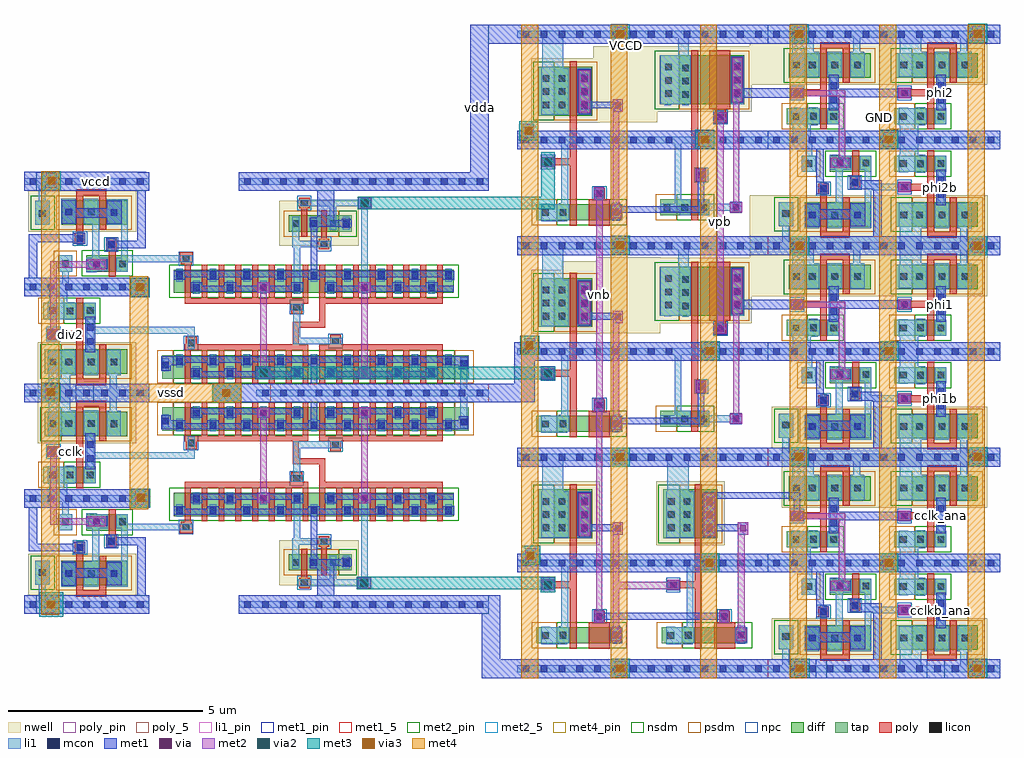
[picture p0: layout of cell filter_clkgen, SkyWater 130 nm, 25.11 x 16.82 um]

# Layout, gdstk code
import gdstk
lib = gdstk.Library(unit=1e-6, precision=1e-09)
def R(c, l, rs):  # rectangles x0, y0, x1, y1
    for r in rs: c.add(gdstk.rectangle(r[:2], r[2:], *l))
def A(c, l, x, y, w, h, nx, ny, dx, dy):  # array of equal rectangles
    R(c, l, [(x+i*dx, y+j*dy, x+i*dx+w, y+j*dy+h) for i in range(nx) for j in range(ny)])
nwell = (64, 20)
diff = (65, 20)
tap = (65, 44)
poly_5 = (66, 5)
poly_pin = (66, 16)
poly = (66, 20)
licon = (66, 44)
li1_pin = (67, 16)
li1 = (67, 20)
mcon = (67, 44)
met1_5 = (68, 5)
met1_pin = (68, 16)
met1 = (68, 20)
via = (68, 44)
met2_5 = (69, 5)
met2_pin = (69, 16)
met2 = (69, 20)
via2 = (69, 44)
met3 = (70, 20)
via3 = (70, 44)
met4_pin = (71, 16)
met4 = (71, 20)
nsdm = (93, 44)
psdm = (94, 20)
npc = (95, 20)

c_tg = lib.new_cell('tg')
R(c_tg, nwell, [(-1.265,1.02,1.51,2.085)])
R(c_tg, diff, [(0.225,0,1.29,0.42), (-0.42,1.2,1.27,1.83)])
R(c_tg, tap, [(-0.495,0,-0.145,0.415), (-1.085,1.2,-0.715,1.82)])
R(c_tg, poly, [(0.8,-0.13,0.98,0.53), (0.775,0.53,0.98,0.55), (0.73,0.55,1,0.83), (-0.025,0.69,0.145,0.72), (-0.075,0.72,0.195,1), (0.78,0.83,0.95,0.86), (-0.03,1,0.15,1.96), (0.55,1.07,0.73,1.96), (-0.03,1.96,0.73,2.12)])
R(c_tg, licon, [(0.4,0.1,0.57,0.27), (1.07,0.11,1.24,0.28), (-0.395,0.12,-0.225,0.29), (0.78,0.61,0.95,0.78), (-0.025,0.77,0.145,0.94), (-0.995,1.41,-0.825,1.58), (0.85,1.44,1.02,1.61), (-0.315,1.445,-0.145,1.615), (0.265,1.445,0.435,1.615)])
R(c_tg, li1_pin, [(1.07,0.11,1.24,0.28)])
R(c_tg, li1, [(-1.38,-0.485,1.84,-0.315), (-0.395,-0.315,-0.225,0), (0.225,-0.02,0.495,0.005), (-0.495,0,-0.145,0.415), (0.99,0,1.29,0.36), (0.225,0.005,0.775,0.36), (0.38,0.36,0.55,1.215), (1.12,0.36,1.29,1.21), (0.78,0.53,0.95,0.86), (-0.025,0.69,0.145,1.02), (-1.09,1.2,-0.715,1.82), (0.79,1.21,1.29,1.22), (-0.375,1.215,-0.085,1.225), (0.205,1.215,0.55,1.225), (0.745,1.22,1.29,1.865), (-0.42,1.225,-0.05,1.87), (0.16,1.225,0.55,1.385), (0.16,1.385,0.53,1.83), (-0.995,1.82,-0.825,2.235), (0.16,1.83,0.525,1.87), (-1.38,2.235,1.84,2.405)])
A(c_tg, mcon, -1.235, -0.485, 0.17, 0.17, 7, 2, 0.46, 2.72)
R(c_tg, mcon, [(0.4,0.1,0.57,0.27), (0.78,0.61,0.95,0.78), (-0.025,0.77,0.145,0.94), (0.85,1.44,1.02,1.61), (-0.315,1.445,-0.145,1.615)])
R(c_tg, met1_pin, [(-0.145,-0.64,0.145,-0.16), (0.78,0.61,0.95,0.78), (-0.025,0.77,0.145,0.94), (-0.145,2.08,0.145,2.56)])
R(c_tg, met1, [(-1.38,-0.64,1.84,-0.16), (0.215,0.055,0.755,0.315), (0.73,0.525,1,0.865), (-0.095,0.71,0.195,1), (0.75,1.23,1.13,1.385), (-0.41,1.235,-0.03,1.385), (-0.41,1.385,1.13,1.635), (-0.41,1.635,-0.03,1.835), (0.75,1.635,1.13,1.825), (-1.38,2.08,0.745,2.085), (1.02,2.08,1.84,2.085), (-1.38,2.085,1.84,2.56)])
R(c_tg, via, [(0.41,0.11,0.56,0.26)])
R(c_tg, met2_pin, [(0.275,0.1,0.695,0.27)])
R(c_tg, met2, [(0.245,0.055,0.725,0.315)])
R(c_tg, nsdm, [(0.1,-0.125,1.415,0.545), (-1.21,1.075,-0.59,1.945)])
R(c_tg, psdm, [(-0.62,-0.125,-0.02,0.54), (-0.545,1.075,1.395,1.955)])
R(c_tg, npc, [(0.68,0.51,1.05,0.88), (-0.125,0.67,0.245,1.04)])
c_tg.add(gdstk.Label('ctrl_', (0.06,0.855), layer=68, texttype=16))
c_tg.add(gdstk.Label('ctrl', (0.865,0.695), layer=68, texttype=16))
c_tg.add(gdstk.Label('in', (0.485,0.185), layer=69, texttype=16))
c_tg.add(gdstk.Label('out', (1.155,0.195), layer=67, texttype=16))
c_tg.add(gdstk.Label('vdd', (0,2.32), layer=68, texttype=16))
c_tg.add(gdstk.Label('vss', (0,-0.4), layer=68, texttype=16))

inverter = lib.new_cell('inverter')
R(inverter, nwell, [(-1.02,1.02,1.51,2.085)])
R(inverter, diff, [(-0.355,0,0.46,0.42), (-0.42,1.2,1.27,1.83)])
R(inverter, tap, [(-0.885,0,-0.355,0.42), (-0.84,1.2,-0.42,1.83)])
R(inverter, poly, [(-0.03,-0.13,0.15,0.72), (-0.755,0.675,-0.475,0.72), (-0.755,0.72,0.15,0.725), (-0.785,0.725,0.15,0.895), (-0.755,0.895,0.15,0.9), (-0.755,0.9,-0.475,0.945), (-0.03,0.9,0.15,1.96), (0.55,1.07,0.73,1.96), (-0.03,1.96,0.73,2.12)])
R(inverter, licon, [(-0.735,0.12,-0.565,0.29), (0.24,0.12,0.41,0.29), (-0.285,0.125,-0.115,0.295), (-0.705,0.725,-0.535,0.895), (-0.72,1.44,-0.55,1.61), (0.85,1.44,1.02,1.61), (-0.315,1.445,-0.145,1.615), (0.265,1.445,0.435,1.615)])
R(inverter, li1, [(-1.38,-0.485,1.84,-0.315), (-0.735,-0.315,-0.265,-0.02), (-0.765,-0.02,-0.265,-0.015), (-0.765,-0.015,-0.085,0.005), (0.16,0,0.46,0.42), (-0.765,0.005,-0.04,0.415), (-0.765,0.415,-0.085,0.42), (-0.765,0.42,-0.535,0.435), (-0.315,0.42,-0.085,0.445), (0.24,0.42,0.41,1.215), (-0.785,0.725,-0.455,0.895), (0.79,1.21,1.08,1.22), (-0.375,1.215,-0.085,1.225), (0.205,1.215,0.495,1.225), (0.745,1.22,1.115,1.825), (-0.76,1.225,-0.05,1.83), (0.16,1.225,0.53,1.83), (0.745,1.825,1.11,1.865), (-0.74,1.83,-0.05,1.87), (0.16,1.83,0.525,1.87), (0.82,1.865,1,2.235), (-0.74,1.87,-0.19,2.235), (-1.38,2.235,1.84,2.405)])
A(inverter, mcon, -1.235, -0.485, 0.17, 0.17, 7, 2, 0.46, 2.72)
R(inverter, mcon, [(0.24,0.55,0.41,0.72), (-0.705,0.725,-0.535,0.895), (0.24,0.91,0.41,1.08)])
R(inverter, met1_pin, [(-0.145,-0.64,0.145,-0.16), (0.24,0.42,0.41,1.215), (-0.05,2.08,0.42,2.56)])
R(inverter, met1, [(-1.38,-0.64,1.84,-0.16), (0.195,0.36,0.45,1.28), (-0.77,0.675,-0.455,0.68), (-0.78,0.68,-0.455,0.94), (-0.77,0.94,-0.455,0.945), (-1.38,2.08,1.84,2.56)])
R(inverter, via, [(-0.695,0.735,-0.545,0.885)])
R(inverter, met2_pin, [(-0.705,0.725,-0.535,0.895)])
R(inverter, met2, [(-0.78,0.68,-0.46,0.94)])
R(inverter, nsdm, [(-0.355,-0.125,0.585,0.545), (-0.965,1.075,-0.42,1.955)])
R(inverter, psdm, [(-1.01,-0.125,-0.355,0.545), (-0.42,1.075,1.395,1.955)])
R(inverter, npc, [(-0.805,0.625,-0.435,0.995)])
inverter.add(gdstk.Label('in', (-0.62,0.81), layer=69, texttype=16))
inverter.add(gdstk.Label('out', (0.325,0.817), layer=68, texttype=16))
inverter.add(gdstk.Label('vss', (0,-0.4), layer=68, texttype=16))
inverter.add(gdstk.Label('vdd', (0.185,2.32), layer=68, texttype=16))

comp_clks_stg1 = lib.new_cell('comp_clks_stg1')
R(comp_clks_stg1, li1_pin, [(2.5,-2.025,2.67,-0.44)])
R(comp_clks_stg1, li1, [(2.5,-2.025,2.67,-0.44)])
R(comp_clks_stg1, met1_5, [(0.775,2.72,3.22,3.2)])
R(comp_clks_stg1, met1_pin, [(0.315,-2.72,3.22,-2.24), (0,0,3.22,0.48), (1.575,1,1.83,1.92)])
R(comp_clks_stg1, met1, [(2.915,-2.725,3.135,-2.72), (0.315,-2.72,3.22,-2.24), (2.915,-2.24,3.135,-0.955), (0.125,-1.115,1.395,-0.915), (2.175,-0.955,3.135,-0.755), (0.125,-0.915,0.345,0), (0,0,3.22,0.48), (1.575,1,1.83,1.92), (0.775,2.72,3.22,3.2)])
R(comp_clks_stg1, met2_pin, [(0.675,-0.43,0.845,1.37)])
R(comp_clks_stg1, met2, [(0.675,-0.43,1.685,-0.26), (0.675,-0.26,0.845,1.37)])
comp_clks_stg1.add(gdstk.Reference(c_tg, (1.38,-0.16), x_reflection=True))
comp_clks_stg1.add(gdstk.Reference(inverter, (1.38,0.64)))
comp_clks_stg1.add(gdstk.Label('vdd', (1.997,2.96), layer=68, texttype=5))
comp_clks_stg1.add(gdstk.Label('vdd', (1.767,-2.48), layer=68, texttype=16))
comp_clks_stg1.add(gdstk.Label('vss', (1.61,0.24), layer=68, texttype=16))
comp_clks_stg1.add(gdstk.Label('clk', (0.76,0.47), layer=69, texttype=16))
comp_clks_stg1.add(gdstk.Label('clka', (1.702,1.46), layer=68, texttype=16))
comp_clks_stg1.add(gdstk.Label('clkb', (2.585,-1.232), layer=67, texttype=16))

level_up_shifter_d_a = lib.new_cell('level_up_shifter_d_a')
R(level_up_shifter_d_a, nwell, [(8.575,6.515,10.625,7.675)])
R(level_up_shifter_d_a, diff, [(5.85,3.1,13.09,3.7), (5.865,5.3,13.07,5.9), (8.815,6.875,10.1,7.295)])
R(level_up_shifter_d_a, tap, [(5.56,3.1,5.85,3.7), (13.09,3.1,13.455,3.7), (10.1,6.875,10.445,7.295)])
R(level_up_shifter_d_a, poly, [(6.15,2.97,6.3,3.83), (6.58,2.97,6.73,3.83), (7.015,2.97,7.165,3.83), (7.445,2.97,7.595,3.83), (7.88,2.97,8.03,3.83), (8.31,2.97,8.46,3.83), (8.745,2.97,8.895,3.83), (9.175,2.97,9.325,3.83), (9.61,2.97,9.76,3.83), (10.04,2.97,10.19,3.83), (10.475,2.97,10.625,3.83), (10.905,2.97,11.055,3.83), (11.34,2.97,11.49,3.83), (11.77,2.97,11.92,3.83), (12.205,2.97,12.355,3.83), (12.635,2.97,12.785,3.83), (6.15,3.83,9.325,3.98), (9.61,3.83,12.785,3.98), (6.175,3.98,6.45,4.18), (8.925,3.98,9.075,4.41), (9.885,3.98,10.16,4.23), (8.925,4.41,9.76,4.56), (9.61,4.56,9.76,5.02), (8.89,4.77,9.165,5.02), (6.15,5.02,9.325,5.17), (9.61,5.02,12.785,5.17), (6.15,5.17,6.3,6.045), (6.58,5.17,6.73,6.03), (7.015,5.17,7.165,6.03), (7.445,5.17,7.595,6.03), (7.88,5.17,8.03,6.03), (8.31,5.17,8.46,6.03), (8.745,5.17,8.895,6.03), (9.175,5.17,9.325,6.03), (9.61,5.17,9.76,6.03), (10.04,5.17,10.19,6.03), (10.475,5.17,10.625,6.03), (10.905,5.17,11.055,6.03), (11.34,5.17,11.49,6.03), (11.77,5.17,11.92,6.03), (12.205,5.17,12.355,6.03), (12.635,5.17,12.785,6.03), (6.045,6.045,6.32,6.095), (6.015,6.095,6.345,6.345), (9.59,6.42,9.86,6.47), (9.56,6.47,9.89,6.64), (9.59,6.64,9.86,6.69), (9.65,6.69,9.8,7.425), (9.145,6.745,9.295,7.48), (9.085,7.48,9.355,7.53), (9.055,7.53,9.385,7.7), (9.085,7.7,9.355,7.75)])
A(level_up_shifter_d_a, licon, 8.95, 3.16, 0.17, 0.17, 5, 1, 0.865, 0)
A(level_up_shifter_d_a, licon, 5.925, 3.47, 0.17, 0.17, 9, 2, 0.865, 2.2)
A(level_up_shifter_d_a, licon, 6.355, 5.36, 0.17, 0.17, 8, 1, 0.865, 0)
R(level_up_shifter_d_a, licon, [(6.355,3.16,6.525,3.33), (7.22,3.16,7.39,3.33), (8.085,3.165,8.255,3.335), (5.565,3.365,5.735,3.535), (13.235,3.395,13.405,3.565), (6.225,3.93,6.395,4.1), (9.935,3.98,10.105,4.15), (8.94,4.85,9.11,5.02), (6.095,6.095,6.265,6.265), (9.64,6.47,9.81,6.64), (8.915,7.005,9.085,7.175), (9.385,7.005,9.555,7.175), (9.875,7.005,10.045,7.175), (10.215,7.005,10.385,7.175), (9.135,7.53,9.305,7.7)])
A(level_up_shifter_d_a, li1, 8.95, 3.08, 0.17, 0.33, 5, 1, 0.865, 0)
A(level_up_shifter_d_a, li1, 5.925, 3.39, 0.17, 0.33, 9, 2, 0.865, 2.2)
A(level_up_shifter_d_a, li1, 6.355, 5.28, 0.17, 0.33, 3, 1, 0.865, 0)
R(level_up_shifter_d_a, li1, [(7.98,2.645,13.97,2.815), (13.235,2.815,13.405,3.645), (6.355,3.08,6.525,3.41), (7.22,3.08,7.39,3.41), (8.085,3.08,8.255,3.415), (5.565,3.285,5.735,3.615), (6.225,3.85,6.4,4.255), (8.94,3.98,10.19,4.15), (8.94,4.15,9.115,4.85), (3.795,4.255,6.4,4.43), (8.86,4.85,9.195,5.02), (8.95,5.28,9.12,6.47), (9.815,5.28,9.985,5.61), (10.68,5.28,10.85,7.53), (11.545,5.28,11.715,5.61), (12.41,5.28,12.58,5.61), (4.67,6.095,6.35,6.265), (8.915,6.47,9.89,6.64), (8.915,6.64,9.085,7.255), (9.385,6.925,9.555,7.255), (9.875,6.925,10.045,7.53), (10.215,6.925,10.385,7.255), (9.055,7.53,10.85,7.7), (7.53,8.085,13.97,8.255)])
A(level_up_shifter_d_a, mcon, 8.595, 2.645, 0.17, 0.17, 12, 1, 0.46, 0)
A(level_up_shifter_d_a, mcon, 8.95, 3.16, 0.17, 0.17, 5, 1, 0.865, 0)
A(level_up_shifter_d_a, mcon, 5.925, 3.47, 0.17, 0.17, 9, 2, 0.865, 2.2)
A(level_up_shifter_d_a, mcon, 6.355, 5.36, 0.17, 0.17, 8, 1, 0.865, 0)
A(level_up_shifter_d_a, mcon, 7.675, 8.085, 0.17, 0.17, 14, 1, 0.46, 0)
R(level_up_shifter_d_a, mcon, [(8.14,2.645,8.31,2.815), (6.355,3.16,6.525,3.33), (7.22,3.16,7.39,3.33), (8.085,3.165,8.255,3.335), (5.565,3.365,5.735,3.535), (13.235,3.395,13.405,3.565), (9.385,7.005,9.555,7.175), (10.215,7.005,10.385,7.175)])
R(level_up_shifter_d_a, met1_5, [(2.785,2.49,5.23,2.97), (8.35,2.49,13.97,2.97)])
R(level_up_shifter_d_a, met1_pin, [(2.01,5.21,5.23,5.69), (2.325,7.93,5.23,8.41), (7.53,7.93,13.97,8.41)])
A(level_up_shifter_d_a, met1, 6.73, 3.44, 0.29, 0.07, 5, 1, 0.865, 0)
A(level_up_shifter_d_a, met1, 5.865, 5.64, 0.29, 0.07, 9, 1, 0.865, 0)
R(level_up_shifter_d_a, met1, [(2.785,2.49,5.23,2.97), (7.855,2.49,13.97,2.97), (9.385,2.97,9.555,3.44), (8.015,3.11,8.335,3.13), (10.615,3.11,10.935,3.13), (6.295,3.13,9.195,3.285), (9.75,3.13,12.655,3.285), (6.295,3.285,6.6,3.37), (7.16,3.285,7.465,3.37), (8.015,3.285,8.335,3.375), (8.89,3.285,9.195,3.37), (9.755,3.285,10.06,3.37), (10.615,3.285,10.935,3.37), (11.485,3.285,11.79,3.37), (12.35,3.285,12.655,3.37), (5.535,3.305,5.785,3.44), (13.195,3.335,13.435,3.44), (5.535,3.44,6.155,3.51), (11.075,3.44,11.345,3.47), (11.92,3.44,12.21,3.51), (12.785,3.44,13.435,3.51), (11.055,3.47,11.345,3.51), (5.535,3.51,7.885,3.515), (8.46,3.51,10.48,3.515), (11.055,3.51,13.435,3.52), (5.535,3.515,10.48,3.52), (5.535,3.52,13.435,3.67), (2.01,5.21,5.23,5.69), (8.015,5.305,8.335,5.33), (10.605,5.31,10.925,5.33), (6.295,5.33,9.195,5.485), (9.75,5.33,13.07,5.485), (6.295,5.485,6.6,5.57), (7.16,5.485,7.465,5.57), (8.015,5.485,8.335,5.57), (8.89,5.485,9.195,5.57), (9.755,5.485,10.06,5.57), (10.605,5.485,10.925,5.57), (11.485,5.485,11.79,5.57), (12.35,5.485,12.655,5.57), (5.865,5.71,13.075,5.87), (9.385,5.87,9.555,6.975), (9.355,6.975,9.585,7.005), (10.185,6.975,10.415,7.005), (9.355,7.005,10.445,7.175), (9.355,7.175,9.99,7.235), (10.185,7.175,10.415,7.205), (9.55,7.235,9.99,7.93), (2.325,7.93,5.23,8.41), (7.53,7.93,13.97,8.41)])
R(level_up_shifter_d_a, via, [(10.7,3.165,10.85,3.315), (8.1,3.17,8.25,3.32), (8.1,5.365,8.25,5.515), (10.69,5.365,10.84,5.515)])
R(level_up_shifter_d_a, met2_pin, [(10.68,3.37,10.85,5.31), (8.085,3.375,8.255,5.31), (2.685,4.32,2.855,6.12)])
R(level_up_shifter_d_a, met2, [(10.615,3.1,10.935,3.37), (8.015,3.11,8.335,3.375), (10.68,3.37,10.85,5.31), (8.085,3.375,8.255,5.31), (2.685,4.32,2.855,6.12), (8.015,5.31,8.335,5.57), (10.605,5.31,10.925,5.57)])
R(level_up_shifter_d_a, nsdm, [(5.85,2.975,13.09,3.825), (5.74,5.175,13.195,6.025), (10.1,6.75,10.57,7.42)])
R(level_up_shifter_d_a, psdm, [(5.435,2.975,5.85,3.825), (13.09,2.975,13.58,3.825), (8.69,6.75,10.1,7.42)])
R(level_up_shifter_d_a, npc, [(6.125,3.83,6.495,4.2), (9.835,3.88,10.205,4.25), (8.84,4.75,9.21,5.12), (5.995,5.995,6.365,6.365), (9.54,6.37,9.91,6.74), (9.035,7.43,9.405,7.8)])
level_up_shifter_d_a.add(gdstk.Reference(comp_clks_stg1, (2.01,5.69), x_reflection=True))
level_up_shifter_d_a.add(gdstk.Label('vccd', (4.007,2.73), layer=68, texttype=5))
level_up_shifter_d_a.add(gdstk.Label('vssd', (11.16,2.73), layer=68, texttype=5))
level_up_shifter_d_a.add(gdstk.Label('vccd', (3.777,8.17), layer=68, texttype=16))
level_up_shifter_d_a.add(gdstk.Label('vssd', (3.62,5.45), layer=68, texttype=16))
level_up_shifter_d_a.add(gdstk.Label('clk', (2.77,5.22), layer=69, texttype=16))
level_up_shifter_d_a.add(gdstk.Label('vdda', (10.75,8.17), layer=68, texttype=16))
level_up_shifter_d_a.add(gdstk.Label('outb', (8.17,4.342), layer=69, texttype=16))
level_up_shifter_d_a.add(gdstk.Label('out', (10.765,4.34), layer=69, texttype=16))

inv_weak_pulldown_correc = lib.new_cell('inv_weak_pulldown_corrected')
R(inv_weak_pulldown_correc, nwell, [(-1.02,2.77,0.74,4.42)])
R(inv_weak_pulldown_correc, diff, [(-0.355,0.25,1.32,0.67), (-0.42,2.95,0.55,4.21)])
R(inv_weak_pulldown_correc, tap, [(-0.885,0.25,-0.355,0.67), (-0.84,2.95,-0.42,4.21)])
R(inv_weak_pulldown_correc, poly, [(-0.03,0.12,0.15,1.665), (0.465,0.12,1.005,0.8), (0.6,0.8,0.87,1.08), (0.65,1.08,0.82,1.11), (-0.72,1.62,-0.44,1.665), (-0.72,1.665,0.15,1.67), (-0.75,1.67,0.15,1.84), (-0.72,1.84,0.15,1.845), (-0.72,1.845,-0.44,1.89), (-0.03,1.845,0.15,4.34)])
A(inv_weak_pulldown_correc, licon, 0.265, 3.135, 0.17, 0.17, 1, 3, 0, 0.34)
A(inv_weak_pulldown_correc, licon, -0.72, 3.14, 0.17, 0.17, 1, 3, 0, 0.34)
A(inv_weak_pulldown_correc, licon, -0.315, 3.14, 0.17, 0.17, 1, 3, 0, 0.34)
R(inv_weak_pulldown_correc, licon, [(-0.735,0.37,-0.565,0.54), (-0.285,0.375,-0.115,0.545), (1.08,0.38,1.25,0.55), (0.65,0.86,0.82,1.03), (-0.67,1.67,-0.5,1.84)])
A(inv_weak_pulldown_correc, li1, -1.38, -0.485, 3.22, 0.17, 1, 3, 0, 2.72)
R(inv_weak_pulldown_correc, li1, [(-0.765,0.23,-0.235,0.235), (-0.765,0.235,-0.085,0.255), (1.06,0.24,1.27,0.255), (-0.765,0.255,-0.04,0.665), (1.01,0.255,1.315,0.665), (-0.765,0.665,-0.065,0.67), (1.06,0.665,1.27,0.7), (-0.765,0.67,-0.535,0.685), (-0.315,0.67,-0.065,0.695), (-0.24,0.695,-0.065,2.235), (0.65,0.78,0.82,0.83), (0.62,0.83,0.85,1.06), (0.65,1.06,0.82,1.11), (-0.75,1.67,-0.42,1.84), (-0.375,2.965,-0.085,2.975), (0.205,2.965,0.495,2.975), (-0.76,2.975,-0.05,4.165), (0.16,2.975,0.53,4.165), (-0.74,4.165,-0.19,4.955)])
A(inv_weak_pulldown_correc, mcon, -1.235, -0.485, 0.17, 0.17, 7, 3, 0.46, 2.72)
A(inv_weak_pulldown_correc, mcon, 0.265, 3.115, 0.17, 0.17, 1, 3, 0, 0.36)
R(inv_weak_pulldown_correc, mcon, [(1.08,0.38,1.25,0.55), (0.65,0.86,0.82,1.03), (-0.67,1.67,-0.5,1.84)])
A(inv_weak_pulldown_correc, met1, -1.38, -0.64, 3.22, 0.48, 1, 3, 0, 2.72)
R(inv_weak_pulldown_correc, met1, [(1.06,0.26,1.27,0.29), (1.03,0.29,1.3,0.64), (1.06,0.64,1.27,0.67), (0.595,0.78,0.855,1.11), (-0.735,1.62,-0.42,1.625), (-0.745,1.625,-0.42,1.885), (-0.735,1.885,-0.42,1.89), (0.205,2.985,0.495,3.015), (0.175,3.015,0.525,3.14), (1.08,3.05,1.34,3.14), (0.175,3.14,1.34,3.31), (0.175,3.31,0.525,4.14), (1.08,3.31,1.34,3.37)])
A(inv_weak_pulldown_correc, via, 0.275, 3.165, 0.15, 0.15, 1, 3, 0, 0.32)
R(inv_weak_pulldown_correc, via, [(1.09,0.39,1.24,0.54), (0.65,0.87,0.8,1.02), (-0.66,1.68,-0.51,1.83), (1.135,3.135,1.285,3.285)])
R(inv_weak_pulldown_correc, met2_5, [(0.65,0.86,0.82,1.03), (-0.67,1.67,-0.5,1.84)])
R(inv_weak_pulldown_correc, met2, [(1.035,0.305,1.295,0.625), (1.08,0.625,1.25,3.05), (0.595,0.78,0.855,1.11), (-0.745,1.625,-0.425,1.885), (0.205,3.015,0.495,4.11), (1.08,3.05,1.34,3.37)])
R(inv_weak_pulldown_correc, nsdm, [(-0.355,0.125,1.445,0.795), (-0.965,2.825,-0.42,4.335)])
R(inv_weak_pulldown_correc, psdm, [(-1.01,0.125,-0.355,0.795), (-0.42,2.825,0.675,4.335)])
R(inv_weak_pulldown_correc, npc, [(0.55,0.76,0.92,1.13), (-0.77,1.57,-0.4,1.94)])
inv_weak_pulldown_correc.add(gdstk.Label('in', (-0.585,1.755), layer=69, texttype=5))
inv_weak_pulldown_correc.add(gdstk.Label('vnb', (0.735,0.945), layer=69, texttype=5))

comp_clks = lib.new_cell('comp_clks')
R(comp_clks, nwell, [(2.88,-2.245,3.15,-1.18), (2.885,1.66,3.135,2.725)])
R(comp_clks, li1, [(2.65,-1.055,3.37,-0.885)])
R(comp_clks, met1_5, [(0,-2.72,5.98,-2.24)])
R(comp_clks, met1_pin, [(4.335,-1.44,4.59,-0.52), (0,0,5.98,0.48), (4.335,1,4.59,1.92), (0,2.72,5.98,3.2)])
A(comp_clks, met1, 0, -2.72, 5.98, 0.48, 1, 3, 0, 2.72)
R(comp_clks, met1, [(2.715,-2.24,2.94,-1.025), (4.335,-1.44,4.59,-0.52), (1.255,-1.16,1.45,0), (2.11,-1.025,2.94,-0.8), (4.335,1,4.59,1.92), (1.755,1.34,3.385,1.555)])
R(comp_clks, met2_pin, [(0.91,1.365,2,1.525)])
R(comp_clks, met2, [(1.835,-0.235,2,1.365), (0.91,1.365,2,1.525)])
comp_clks.add(gdstk.Reference(c_tg, (1.38,-0.16), x_reflection=True))
comp_clks.add(gdstk.Reference(inverter, (4.14,-0.16), x_reflection=True))
comp_clks.add(gdstk.Reference(inverter, (4.14,0.64)))
comp_clks.add(gdstk.Reference(inverter, (1.38,0.64)))
comp_clks.add(gdstk.Label('vdd', (2.99,-2.48), layer=68, texttype=5))
comp_clks.add(gdstk.Label('vdd', (2.99,2.96), layer=68, texttype=16))
comp_clks.add(gdstk.Label('vss', (2.99,0.24), layer=68, texttype=16))
comp_clks.add(gdstk.Label('clk', (1.455,1.445), layer=69, texttype=16))
comp_clks.add(gdstk.Label('clka', (4.462,1.46), layer=68, texttype=16))
comp_clks.add(gdstk.Label('clkb', (4.462,-0.98), layer=68, texttype=16))

cclkgen = lib.new_cell('cclkgen')
R(cclkgen, met1, [(7.115,4.25,7.285,4.61), (5.11,4.61,7.285,4.78)])
R(cclkgen, met2, [(2.575,2.29,4.01,2.48)])
cclkgen.add(gdstk.Reference(inv_weak_pulldown_correc, (4.6,0.64)))
cclkgen.add(gdstk.Reference(inv_weak_pulldown_correc, (1.38,0.64)))
cclkgen.add(gdstk.Reference(comp_clks, (6.44,2.72)))

inv_weak_pullup_correcte = lib.new_cell('inv_weak_pullup_corrected')
R(inv_weak_pullup_correcte, nwell, [(0.005,2.29,2.545,3.975)])
R(inv_weak_pullup_correcte, diff, [(0.62,-0.375,1.46,0.045), (0.69,2.48,2.36,3.74)])
R(inv_weak_pullup_correcte, tap, [(0.2,-0.375,0.62,0.045), (0.185,2.48,0.69,3.74)])
R(inv_weak_pullup_correcte, poly_5, [(1.115,0.5,1.385,0.83)])
R(inv_weak_pullup_correcte, poly, [(0.99,-0.505,1.17,0.5), (0.99,0.5,1.385,0.83), (0.99,0.83,1.17,3.87), (1.61,1.99,1.88,2.35), (1.46,2.35,2,3.87)])
A(inv_weak_pullup_correcte, licon, 0.76, 2.655, 0.17, 0.17, 1, 3, 0, 0.34)
A(inv_weak_pullup_correcte, licon, 0.325, 2.675, 0.17, 0.17, 1, 3, 0, 0.34)
A(inv_weak_pullup_correcte, licon, 2.095, 2.685, 0.17, 0.17, 1, 3, 0, 0.34)
R(inv_weak_pullup_correcte, licon, [(0.74,-0.26,0.91,-0.09), (1.24,-0.26,1.41,-0.09), (0.28,-0.255,0.45,-0.085), (1.165,0.58,1.335,0.75), (1.66,2.07,1.83,2.24)])
A(inv_weak_pullup_correcte, li1, -0.265, -1.24, 3.22, 0.17, 1, 3, 0, 2.72)
R(inv_weak_pullup_correcte, li1, [(0.7,-0.375,0.98,-0.275), (1.18,-0.375,1.46,-0.25), (1.985,-0.295,2.305,-0.25), (0.2,-0.275,0.98,-0.075), (1.18,-0.25,2.305,-0.08), (1.18,-0.08,1.46,0.045), (1.985,-0.08,2.305,-0.035), (0.565,-0.075,0.98,0.045), (0.565,0.045,0.735,1.48), (1.165,0.5,1.335,0.83), (1.66,1.99,1.83,2.32), (0.76,2.46,0.93,2.48), (0.305,2.465,0.475,2.48), (0.195,2.48,0.985,3.745), (2.005,2.48,2.35,3.725), (0.665,3.745,0.935,4.2)])
A(inv_weak_pullup_correcte, mcon, -0.12, -1.24, 0.17, 0.17, 7, 2, 0.46, 5.44)
A(inv_weak_pullup_correcte, mcon, 1.26, 1.48, 0.17, 0.17, 4, 1, 0.46, 0)
A(inv_weak_pullup_correcte, mcon, 2.095, 2.665, 0.17, 0.17, 1, 3, 0, 0.36)
R(inv_weak_pullup_correcte, mcon, [(2.06,-0.25,2.23,-0.08), (1.165,0.58,1.335,0.75), (-0.12,1.48,0.05,1.65), (0.34,1.48,0.51,1.65), (1.66,2.07,1.83,2.24)])
A(inv_weak_pullup_correcte, met1, -0.265, -1.395, 3.22, 0.48, 1, 3, 0, 2.72)
R(inv_weak_pullup_correcte, met1, [(2,-0.31,2.29,-0.295), (1.985,-0.295,2.305,-0.035), (2,-0.035,2.29,-0.02), (1.115,0.5,1.385,0.83), (1.57,1.99,1.925,2.28), (2.03,2.52,2.33,3.705)])
A(inv_weak_pullup_correcte, via, 2.105, 2.715, 0.15, 0.15, 1, 3, 0, 0.32)
R(inv_weak_pullup_correcte, via, [(2.07,-0.24,2.22,-0.09), (1.175,0.595,1.325,0.745), (1.67,2.075,1.82,2.225)])
R(inv_weak_pullup_correcte, met2_5, [(1.985,-0.295,2.305,-0.035), (1.585,2.02,1.905,2.28)])
R(inv_weak_pullup_correcte, met2, [(1.985,-0.295,2.305,-0.035), (2.07,-0.035,2.23,2.55), (1.12,0.51,1.38,0.83), (1.585,2.02,1.905,2.28), (2.05,2.55,2.31,3.675)])
R(inv_weak_pullup_correcte, nsdm, [(0.62,-0.5,1.585,0.17), (0.06,2.355,0.69,3.865)])
R(inv_weak_pullup_correcte, psdm, [(0.075,-0.5,0.62,0.17), (0.69,2.355,2.485,3.865)])
R(inv_weak_pullup_correcte, npc, [(1.065,0.48,1.435,0.85), (1.56,1.97,1.93,2.34)])
inv_weak_pullup_correcte.add(gdstk.Label('vpb', (1.745,2.15), layer=69, texttype=5))
inv_weak_pullup_correcte.add(gdstk.Label('out', (2.145,-0.165), layer=69, texttype=5))
inv_weak_pullup_correcte.add(gdstk.Label('inp', (1.25,0.665), layer=66, texttype=5))

phigen = lib.new_cell('phigen')
R(phigen, nwell, [(5.985,4.375,6.91,5.445)])
R(phigen, met1, [(2.62,1.09,4.81,1.26), (4.64,1.26,4.81,1.935), (5.745,4.045,7.075,4.285)])
phigen.add(gdstk.Reference(inv_weak_pullup_correcte, (3.485,1.395)))
phigen.add(gdstk.Reference(inv_weak_pulldown_correc, (1.38,0.64)))
phigen.add(gdstk.Reference(comp_clks, (6.44,2.72)))

filter_clkgen = lib.new_cell('filter_clkgen')
R(filter_clkgen, nwell, [(11.18,-5.25,16.47,-3.975), (-7.945,-3.605,-5.415,-2.67), (6.415,-1.81,8.065,-0.865), (5.53,-0.865,8.065,0.045), (6.415,0.045,8.065,0.145), (10.365,0.14,16.49,1.745), (6.335,3.62,7.985,5.575)])
R(filter_clkgen, poly_pin, [(-7.46,-4.945,-6.775,-4.765), (-7.46,-1.925,-6.775,-1.745)])
R(filter_clkgen, poly, [(-7.46,-4.945,-6.775,-4.765), (-7.46,-1.925,-6.775,-1.745)])
R(filter_clkgen, li1, [(0.36,-8.315,0.53,-8.145), (0.365,1.455,0.535,1.625)])
R(filter_clkgen, mcon, [(0.36,-8.315,0.53,-8.145), (0.365,1.455,0.535,1.625)])
R(filter_clkgen, met1_pin, [(15.155,-9.4,15.41,-8.48), (15.155,-6.96,15.41,-6.04), (15.155,-3.96,15.41,-3.04), (15.155,-1.52,15.41,-0.6), (15.16,1.48,15.4,2.4), (-7.47,1.855,-5.39,2.34), (3.175,1.855,3.655,6.12), (15.16,3.92,15.4,4.84)])
R(filter_clkgen, met1, [(3.47,-10.68,4.435,-10.2), (6.89,-10.62,7.17,-10.25), (11.51,-10.62,11.79,-10.25), (16.08,-10.62,16.36,-10.25), (3.47,-10.2,3.95,-8.545), (15.155,-9.4,15.41,-8.48), (6.43,-9.185,9.81,-8.995), (-7.755,-8.93,-7.48,-8.645), (0.295,-8.37,0.61,-8.365), (0.285,-8.365,0.61,-8.105), (0.295,-8.105,0.61,-8.095), (9.185,-7.9,9.465,-7.53), (13.795,-7.9,14.075,-7.53), (4.585,-7.71,4.865,-7.34), (15.155,-6.96,15.41,-6.04), (-5.435,-6.205,-5.175,-5.885), (6.885,-5.185,7.165,-4.815), (11.495,-5.175,11.775,-4.805), (16.09,-5.175,16.37,-4.805), (15.155,-3.96,15.41,-3.04), (-3.46,-3.585,-2.23,-3.105), (3.615,-3.585,4.83,-3.105), (-8.22,-3.53,-7.95,-3.12), (-7.75,-3.485,-7.49,-3.165), (4.3,-3.105,4.83,-2.305), (9.2,-2.455,9.48,-2.085), (13.805,-2.455,14.085,-2.085), (4.3,-2.305,4.84,-2.04), (4.56,-2.04,4.84,-1.935), (-7.7,-1.98,-7.38,-1.69), (15.155,-1.52,15.41,-0.6), (-8.19,-0.79,-8.18,-0.63), (-7.96,-0.79,-7.95,-0.63), (-5.45,-0.79,-5.19,-0.47), (11.5,0.255,11.78,0.625), (16.08,0.255,16.36,0.625), (6.89,0.265,7.17,0.635), (0.295,1.39,0.62,1.685), (15.16,1.48,15.4,2.4), (-8.305,1.855,-5.39,2.34), (3.175,1.855,3.655,5.64), (13.795,2.985,14.075,3.355), (9.065,2.99,9.345,3.36), (4.53,3.21,4.81,3.58), (15.16,3.92,15.4,4.84), (3.175,5.64,4.42,6.12), (6.89,5.7,7.17,6.07), (11.495,5.7,11.775,6.07), (16.085,5.71,16.365,6.08)])
R(filter_clkgen, via, [(6.955,-10.51,7.105,-10.36), (11.575,-10.51,11.725,-10.36), (16.145,-10.51,16.295,-10.36), (-7.695,-8.865,-7.545,-8.715), (0.37,-8.31,0.52,-8.16), (9.25,-7.79,9.4,-7.64), (13.86,-7.79,14.01,-7.64), (4.65,-7.6,4.8,-7.45), (-5.38,-6.12,-5.23,-5.97), (6.95,-5.075,7.1,-4.925), (11.56,-5.065,11.71,-4.915), (16.155,-5.065,16.305,-4.915), (-7.695,-3.4,-7.545,-3.25), (9.265,-2.345,9.415,-2.195), (13.87,-2.345,14.02,-2.195), (4.625,-2.195,4.775,-2.045), (-5.395,-0.705,-5.245,-0.555), (11.565,0.365,11.715,0.515), (16.145,0.365,16.295,0.515), (6.955,0.375,7.105,0.525), (0.385,1.465,0.535,1.615), (-7.675,2.045,-7.525,2.195), (13.86,3.095,14.01,3.245), (9.13,3.1,9.28,3.25), (4.595,3.32,4.745,3.47), (6.955,5.81,7.105,5.96), (11.56,5.81,11.71,5.96), (16.15,5.82,16.3,5.97)])
R(filter_clkgen, met2_pin, [(6.41,-3.5,6.585,1.865), (9.52,-1.61,9.695,3.755)])
R(filter_clkgen, met2, [(6.89,-10.62,7.17,-10.25), (11.51,-10.62,11.79,-10.25), (16.08,-10.62,16.36,-10.25), (-7.77,-8.995,-7.47,-8.585), (6.42,-8.995,6.57,-3.5), (4.99,-8.425,5.36,-8.14), (0.26,-8.375,0.63,-8.095), (9.185,-7.9,9.465,-7.53), (13.795,-7.9,14.075,-7.53), (4.585,-7.71,4.865,-7.34), (-5.445,-6.23,-5.165,-5.86), (6.885,-5.185,7.165,-4.815), (11.495,-5.175,11.775,-4.805), (16.09,-5.175,16.37,-4.805), (-3.46,-3.585,-2.72,-3.105), (-7.76,-3.51,-7.48,-3.14), (6.41,-3.5,6.585,1.865), (4.99,-2.985,5.36,-2.705), (-2.325,-2.97,-1.955,-2.69), (9.2,-2.455,9.48,-2.085), (13.805,-2.455,14.085,-2.085), (4.56,-2.305,4.84,-1.935), (9.52,-1.61,9.695,3.755), (-5.46,-0.815,-5.18,-0.445), (11.5,0.255,11.78,0.625), (16.08,0.255,16.36,0.625), (6.89,0.265,7.17,0.635), (0.275,1.4,0.645,1.68), (-7.74,1.935,-7.46,2.305), (4.99,2.455,5.36,2.735), (13.795,2.985,14.075,3.355), (9.065,2.99,9.345,3.36), (4.53,3.21,4.81,3.58), (6.89,5.7,7.17,6.07), (11.495,5.7,11.775,6.07), (16.085,5.71,16.365,6.08)])
A(filter_clkgen, via2, 5.075, -8.385, 0.2, 0.2, 1, 3, 0, 5.44)
R(filter_clkgen, via2, [(6.93,-10.535,7.13,-10.335), (11.55,-10.535,11.75,-10.335), (16.12,-10.535,16.32,-10.335), (-7.72,-8.89,-7.52,-8.69), (0.345,-8.335,0.545,-8.135), (9.225,-7.815,9.425,-7.615), (13.835,-7.815,14.035,-7.615), (4.625,-7.625,4.825,-7.425), (-5.405,-6.145,-5.205,-5.945), (6.925,-5.1,7.125,-4.9), (11.535,-5.09,11.735,-4.89), (16.13,-5.09,16.33,-4.89), (-3.2,-3.445,-3,-3.245), (-7.72,-3.425,-7.52,-3.225), (-2.24,-2.93,-2.04,-2.73), (9.24,-2.37,9.44,-2.17), (13.845,-2.37,14.045,-2.17), (4.6,-2.22,4.8,-2.02), (-5.42,-0.73,-5.22,-0.53), (11.54,0.34,11.74,0.54), (16.12,0.34,16.32,0.54), (6.93,0.35,7.13,0.55), (0.36,1.44,0.56,1.64), (-7.7,2.02,-7.5,2.22), (13.835,3.07,14.035,3.27), (9.105,3.075,9.305,3.275), (4.57,3.295,4.77,3.495), (6.93,5.785,7.13,5.985), (11.535,5.785,11.735,5.985), (16.125,5.795,16.325,5.995)])
R(filter_clkgen, met3, [(6.79,-10.675,7.28,-10.185), (11.41,-10.675,11.9,-10.185), (15.98,-10.675,16.47,-10.185), (-7.915,-9.1,-7.29,-8.475), (4.985,-8.47,5.365,-8.4), (0.26,-8.4,5.365,-8.08), (0.26,-8.08,0.63,-8.07), (9.085,-7.955,9.575,-7.465), (13.695,-7.955,14.185,-7.465), (4.485,-7.765,4.975,-7.275), (-5.55,-6.3,-5.06,-5.81), (6.785,-5.24,7.275,-4.75), (11.395,-5.23,11.885,-4.74), (15.99,-5.23,16.48,-4.74), (-3.46,-3.585,-2.72,-3.105), (-7.865,-3.58,-7.375,-3.09), (4.99,-3.01,5.36,-2.995), (-2.355,-2.995,5.36,-2.675), (-2.355,-2.675,-1.955,-2.665), (4.99,-2.675,5.36,-2.67), (9.1,-2.51,9.59,-2.02), (13.705,-2.51,14.195,-2.02), (4.46,-2.36,4.95,-1.87), (-5.565,-0.885,-5.075,-0.395), (11.4,0.2,11.89,0.69), (15.98,0.2,16.47,0.69), (6.79,0.21,7.28,0.7), (0.275,1.375,5.35,1.7), (0.275,1.7,0.755,1.705), (4.995,1.7,5.35,2.84), (-7.845,1.865,-7.355,2.355), (13.695,2.93,14.185,3.42), (8.965,2.935,9.455,3.425), (4.43,3.155,4.92,3.645), (6.79,5.645,7.28,6.135), (11.395,5.645,11.885,6.135), (15.985,5.655,16.475,6.145)])
R(filter_clkgen, via3, [(6.93,-10.535,7.13,-10.335), (11.55,-10.535,11.75,-10.335), (16.12,-10.535,16.32,-10.335), (-7.72,-8.89,-7.52,-8.69), (9.225,-7.815,9.425,-7.615), (13.835,-7.815,14.035,-7.615), (4.625,-7.625,4.825,-7.425), (-5.405,-6.145,-5.205,-5.945), (6.925,-5.1,7.125,-4.9), (11.535,-5.09,11.735,-4.89), (16.13,-5.09,16.33,-4.89), (-3.2,-3.445,-3,-3.245), (-7.72,-3.425,-7.52,-3.225), (9.24,-2.37,9.44,-2.17), (13.845,-2.37,14.045,-2.17), (4.6,-2.22,4.8,-2.02), (-5.42,-0.73,-5.22,-0.53), (11.54,0.34,11.74,0.54), (16.12,0.34,16.32,0.54), (6.93,0.35,7.13,0.55), (-7.7,2.02,-7.5,2.22), (13.835,3.07,14.035,3.27), (9.105,3.075,9.305,3.275), (4.57,3.295,4.77,3.495), (6.93,5.785,7.13,5.985), (11.535,5.785,11.735,5.985), (16.125,5.795,16.325,5.995)])
R(filter_clkgen, met4_pin, [(-5.58,-3.585,-3.43,-3.105)])
R(filter_clkgen, met4, [(4.49,-10.68,4.92,6.12), (6.785,-10.68,7.215,6.12), (9.09,-10.68,9.52,3.01), (11.395,-10.68,11.825,6.12), (13.695,-10.68,14.125,6.12), (15.975,-10.68,16.405,6.12), (-7.865,-9.055,-7.395,2.36), (-5.58,-6.335,-5.11,-3.585), (-5.58,-3.585,-2.72,-3.105), (-5.58,-3.105,-5.11,-0.34), (9.04,3.01,9.52,3.34), (9.09,3.34,9.52,6.12)])
filter_clkgen.add(gdstk.Reference(level_up_shifter_d_a, (-10.315,-0.615), x_reflection=True))
filter_clkgen.add(gdstk.Reference(level_up_shifter_d_a, (-10.315,-0.615), x_reflection=True))
filter_clkgen.add(gdstk.Reference(cclkgen, (4.38,-10.68)))
filter_clkgen.add(gdstk.Reference(cclkgen, (4.38,-10.68)))
filter_clkgen.add(gdstk.Reference(phigen, (4.38,-5.24)))
filter_clkgen.add(gdstk.Reference(phigen, (4.38,-5.24)))
filter_clkgen.add(gdstk.Reference(level_up_shifter_d_a, (-10.315,-6.075)))
filter_clkgen.add(gdstk.Reference(level_up_shifter_d_a, (-10.315,-6.075)))
filter_clkgen.add(gdstk.Reference(phigen, (4.38,0.2)))
filter_clkgen.add(gdstk.Reference(phigen, (4.38,0.2)))
filter_clkgen.add(gdstk.Label('GND', (13.695,3.75), layer=71, texttype=5))
filter_clkgen.add(gdstk.Label('VCCD', (7.19,5.59), layer=71, texttype=5))
filter_clkgen.add(gdstk.Label('phi2b', (15.28,1.94), layer=68, texttype=16))
filter_clkgen.add(gdstk.Label('phi2', (15.28,4.38), layer=68, texttype=16))
filter_clkgen.add(gdstk.Label('phi1b', (15.282,-3.5), layer=68, texttype=16))
filter_clkgen.add(gdstk.Label('phi1', (15.282,-1.06), layer=68, texttype=16))
filter_clkgen.add(gdstk.Label('cclkb_ana', (15.282,-8.94), layer=68, texttype=16))
filter_clkgen.add(gdstk.Label('cclk_ana', (15.282,-6.5), layer=68, texttype=16))
filter_clkgen.add(gdstk.Label('vccd', (-6.43,2.097), layer=68, texttype=16))
filter_clkgen.add(gdstk.Label('div2', (-7.117,-1.835), layer=66, texttype=16))
filter_clkgen.add(gdstk.Label('cclk', (-7.117,-4.855), layer=66, texttype=16))
filter_clkgen.add(gdstk.Label('vssd', (-4.505,-3.345), layer=71, texttype=16))
filter_clkgen.add(gdstk.Label('vdda', (3.415,3.987), layer=68, texttype=16))
filter_clkgen.add(gdstk.Label('vnb', (6.497,-0.817), layer=69, texttype=16))
filter_clkgen.add(gdstk.Label('vpb', (9.607,1.072), layer=69, texttype=16))

lib.write_gds('filter_clkgen.gds')
